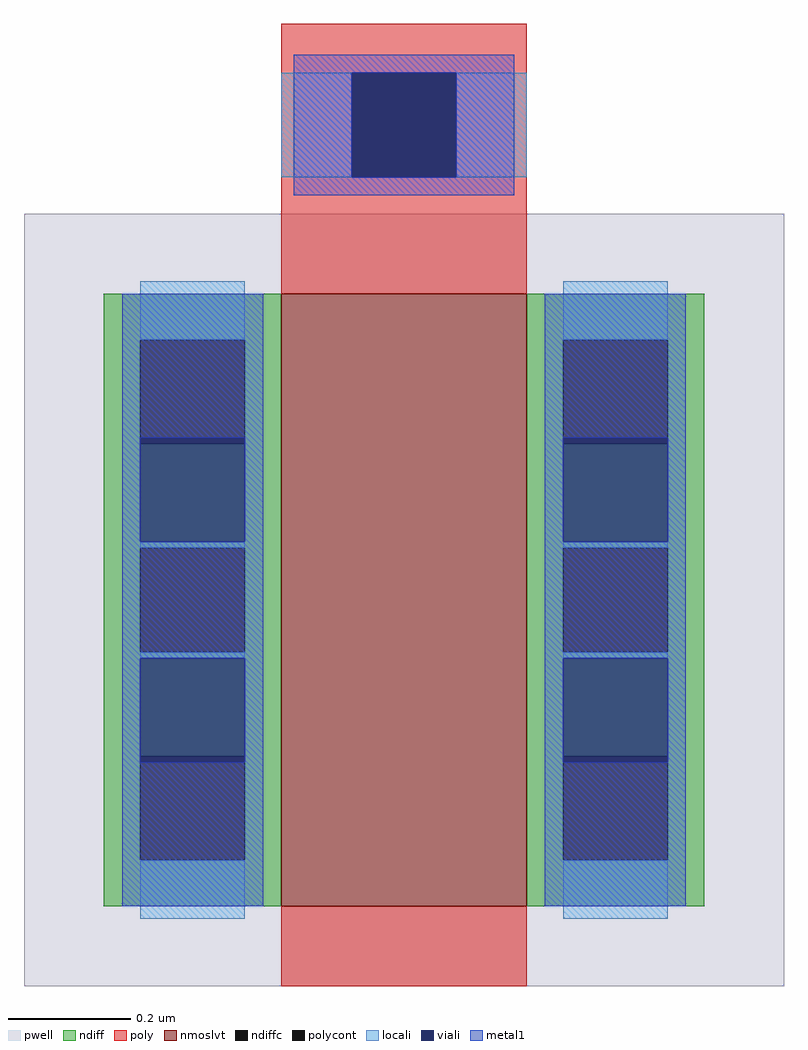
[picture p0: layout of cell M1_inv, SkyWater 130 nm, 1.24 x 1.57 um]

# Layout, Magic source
magic
tech sky130B
magscale 1 2
<< pwell >>
rect -124 -197 124 55
<< nmoslvt >>
rect -40 -171 40 29
<< ndiff >>
rect -98 14 -40 29
rect -98 -20 -86 14
rect -52 -20 -40 14
rect -98 -54 -40 -20
rect -98 -88 -86 -54
rect -52 -88 -40 -54
rect -98 -122 -40 -88
rect -98 -156 -86 -122
rect -52 -156 -40 -122
rect -98 -171 -40 -156
rect 40 14 98 29
rect 40 -20 52 14
rect 86 -20 98 14
rect 40 -54 98 -20
rect 40 -88 52 -54
rect 86 -88 98 -54
rect 40 -122 98 -88
rect 40 -156 52 -122
rect 86 -156 98 -122
rect 40 -171 98 -156
<< ndiffc >>
rect -86 -20 -52 14
rect -86 -88 -52 -54
rect -86 -156 -52 -122
rect 52 -20 86 14
rect 52 -88 86 -54
rect 52 -156 86 -122
<< poly >>
rect -40 101 40 117
rect -40 67 -17 101
rect 17 67 40 101
rect -40 29 40 67
rect -40 -197 40 -171
<< polycont >>
rect -17 67 17 101
<< locali >>
rect -40 67 -17 101
rect 17 67 40 101
rect -86 14 -52 33
rect -86 -54 -52 -52
rect -86 -90 -52 -88
rect -86 -175 -52 -156
rect 52 14 86 33
rect 52 -54 86 -52
rect 52 -90 86 -88
rect 52 -175 86 -156
<< viali >>
rect -17 67 17 101
rect -86 -20 -52 -18
rect -86 -52 -52 -20
rect -86 -122 -52 -90
rect -86 -124 -52 -122
rect 52 -20 86 -18
rect 52 -52 86 -20
rect 52 -122 86 -90
rect 52 -124 86 -122
<< metal1 >>
rect -36 101 36 107
rect -36 67 -17 101
rect 17 67 36 101
rect -36 61 36 67
rect -92 -18 -46 29
rect -92 -52 -86 -18
rect -52 -52 -46 -18
rect -92 -90 -46 -52
rect -92 -124 -86 -90
rect -52 -124 -46 -90
rect -92 -171 -46 -124
rect 46 -18 92 29
rect 46 -52 52 -18
rect 86 -52 92 -18
rect 46 -90 92 -52
rect 46 -124 52 -90
rect 86 -124 92 -90
rect 46 -171 92 -124
<< end >>
